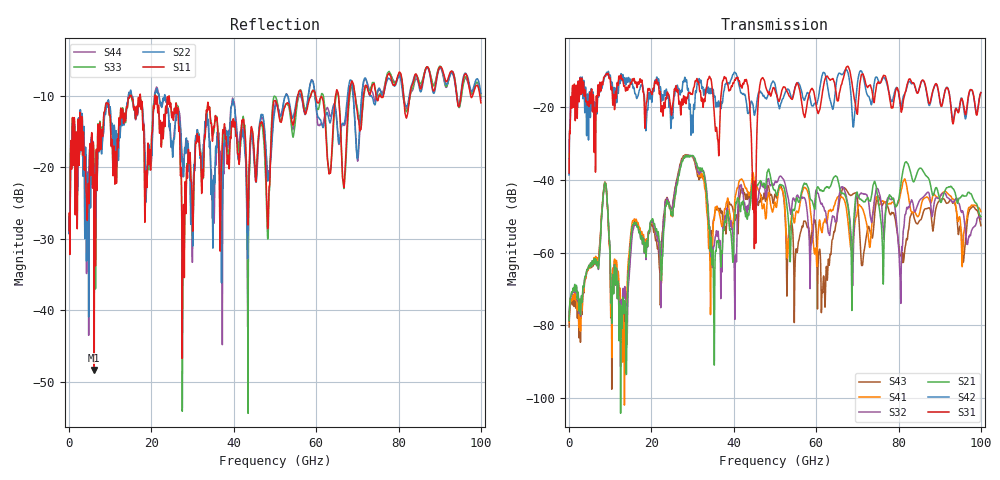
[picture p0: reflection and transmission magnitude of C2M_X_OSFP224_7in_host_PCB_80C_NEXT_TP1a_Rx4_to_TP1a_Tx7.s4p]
# GHz S RI R 45
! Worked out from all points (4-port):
!   4000 points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, 25 MHz to 100 GHz, reference 45 ohm
!   strongest paths, dB at 25 MHz, 25.02 GHz, 50.02 GHz, 75.03 GHz, 100 GHz:
!     S31: -38.1, -20.7, -15.4, -13.0, -16.0
!     S42: -38.6, -22.1, -13.7, -12.5, -15.9
!     S21: -78.7, -49.2, -42.8, -45.1, -50.1
!     S32: -78.0, -47.9, -40.5, -42.5, -50.8
!     S41: -79.2, -49.2, -46.1, -46.2, -48.7
!     S43: -80.4, -47.7, -43.9, -44.4, -52.6
!   lowest |S11| = -48.4 dB at 6.125 GHz (marker M1), VSWR 1.01, Z = 45.2 - j0.287 ohm
!   |S11| at or under -10 dB: start of sweep to 14.73 GHz; 20.95 GHz to 55.57 GHz (34.62 GHz wide, 90.5 % of centre); 59.87 GHz to 64.72 GHz (4.852 GHz wide, 7.79 % of centre) (the widest 3 of 15)
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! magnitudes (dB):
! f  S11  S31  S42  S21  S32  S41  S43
! 25 MHz  -28.9  -38.1  -38.6  -78.7  -78.0  -79.2  -80.4
! 6.125 GHz  -48.4  -32.4  -20.4  -61.8  -61.9  -61.4  -61.9
! 8.775 GHz  -11.8  -11.3  -11.4  -40.9  -40.8  -40.7  -40.7
! 13.38 GHz  -13.1  -14.2  -13.0  -76.6  -72.3  -84.1  -79.7
! 28.27 GHz  -23.0  -17.6  -12.7  -33.2  -33.3  -33.1  -33.1
! 35.12 GHz  -14.3  -19.7  -16.2  -75.8  -58.3  -50.9  -50.9
! 100 GHz  -11.0  -16.0  -15.9  -50.1  -50.8  -48.7  -52.6
